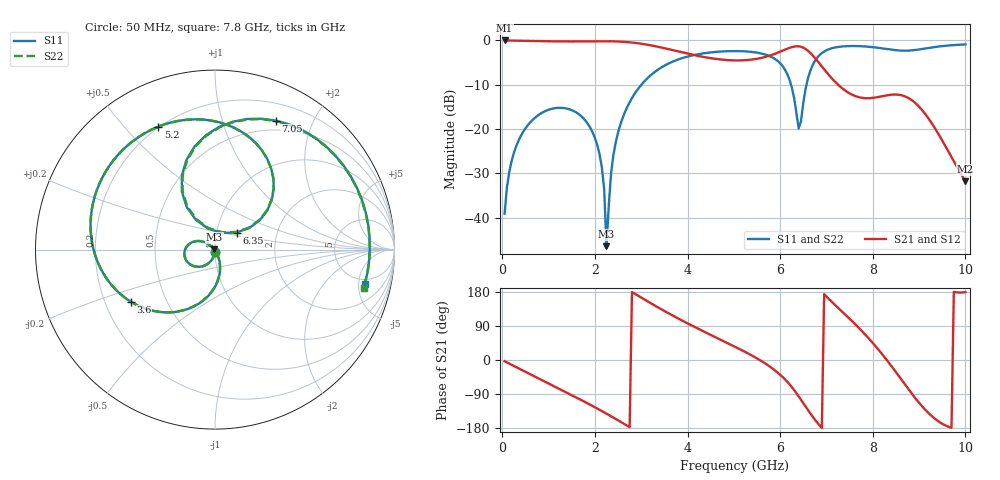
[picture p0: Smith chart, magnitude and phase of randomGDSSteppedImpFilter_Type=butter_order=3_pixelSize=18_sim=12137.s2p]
! freq	dB(S11)	phase(S11)	dB(S12)	phase(S12)
!  dB(S21)	phase(S21)	dB(S22)	phase(S22)
!S-par simulation data
#  GHz  S  DB  R 50
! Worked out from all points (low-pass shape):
!   200 points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, 50 MHz to 10 GHz, reference 50 ohm
!   highest |S21| = -0.01 dB at 50 MHz (marker M1); lowest = -31.8 dB at 10 GHz (marker M2)
!   |S21| within 3 dB of the highest: start of sweep to 4.01 GHz; 5.89 GHz to 6.668 GHz (778.1 MHz wide, 12.4 % of centre)
!   lowest |S11| = -46.5 dB at 2.25 GHz (marker M3), VSWR 1.01, Z = 49.6 + j0.146 ohm
!   |S11| at or under -10 dB: start of sweep to 3.004 GHz; 6.235 GHz to 6.569 GHz (334.5 MHz wide, 5.22 % of centre)
!   |S22| runs from -44.7 to -0.9 dB; largest |S21 - S12| = 0
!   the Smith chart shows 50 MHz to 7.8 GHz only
!   S11 on the Smith chart (normalised r, x): 50 MHz: 1.00, -0.02; 3.6 GHz: 0.31, -0.26; 5.2 GHz: 0.20, +0.62; 6.35 GHz: 1.25, +0.24; 7.05 GHz: 0.39, +1.50; 7.8 GHz: 4.14, -6.01
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0.05  -39.12 -91.6  -0.01 -3.2  -0.01 -3.2  -39.12 -91.6
0.2  -27.28 -102.4  -0.03 -12.6  -0.03 -12.6  -27.28 -102.4
0.55  -19.16 -124.7  -0.10 -34.3  -0.10 -34.3  -19.16 -124.6
1.75  -17.57 161.4  -0.21 -108.5  -0.21 -108.5  -17.56 161.8
2.1  -25.71 140.1  -0.18 -131.4  -0.18 -131.4  -25.69 141.7
2.2  -33.60 137.4  -0.18 -138.2  -0.18 -138.2  -33.48 141.4
2.25  -46.46 161.9  -0.18 -141.6  -0.18 -141.6  -44.75 174.2
2.35  -29.88 -64.2  -0.20 -148.5  -0.20 -148.5  -29.85 -67.0
2.55  -19.00 -75.1  -0.27 -162.7  -0.27 -162.7  -19.00 -75.9
3.4  -6.33 -134.8  -1.52 136.2  -1.52 136.2  -6.33 -134.9
3.6  -5.16 -148.3  -2.00 122.5  -2.00 122.5  -5.16 -148.4
5.05  -2.41 124.0  -4.51 33.6  -4.51 33.6  -2.41 124.0
5.2  -2.45 114.8  -4.48 24.3  -4.48 24.3  -2.45 114.9
5.95  -4.67 60.2  -2.76 -33.5  -2.76 -33.5  -4.67 60.4
6.35  -16.30 38.5  -1.33 -87.1  -1.33 -87.1  -16.18 39.4
6.7  -5.62 107.7  -3.36 -149.4  -3.36 -149.4  -5.61 107.1
7.05  -2.00 64.8  -7.79 161.2  -7.79 161.2  -2.00 64.2
7.8  -1.34 -12.9  -13.00 71.9  -13.00 71.9  -1.36 -14.4
8.35  -2.02 -86.4  -12.32 -7.5  -12.32 -7.5  -2.04 -89.1
8.95  -2.11 166.1  -14.43 -105.6  -14.43 -105.6  -2.09 163.7
9.4  -1.41 98.8  -20.82 -160.3  -20.82 -160.3  -1.39 97.9
10  -0.91 41.6  -31.82 179.1  -31.82 179.1  -0.90 41.6
